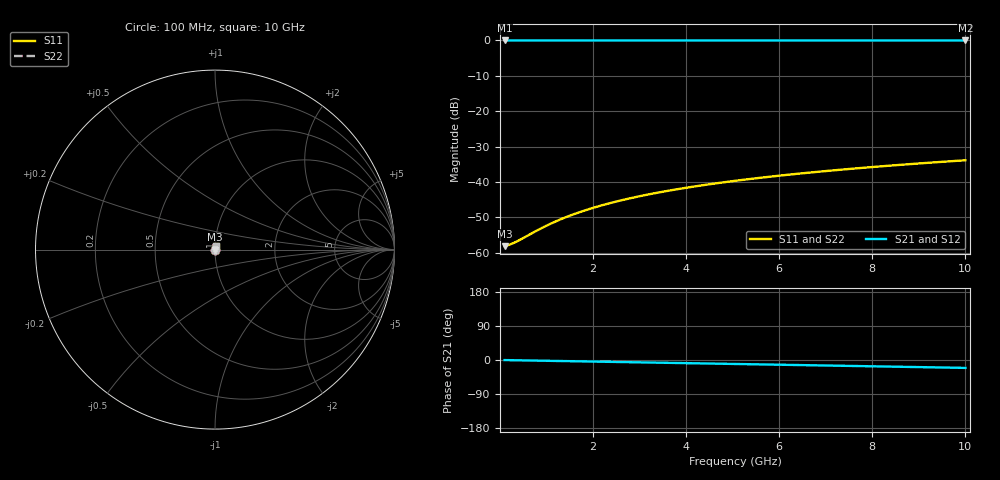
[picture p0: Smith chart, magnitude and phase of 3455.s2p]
# Hz S RI R 50.00
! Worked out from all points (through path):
!   100 points, 100 MHz to 10 GHz, reference 50 ohm
!   highest |S21| = -0.01 dB at 100 MHz (marker M1); lowest = 0.0 dB at 10 GHz (marker M2)
!   group delay of S21, straight-line fit = 5.79 ps
!   lowest |S11| = -58.1 dB at 100 MHz (marker M3), VSWR 1.00, Z = 50.1 + j0.0203 ohm
!   |S11| at or under -10 dB: start of sweep to end of sweep
!   |S22| runs from -58.1 to -33.9 dB; largest |S21 - S12| = 0
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1e8  0.00122 0.000203  0.9988 -0.0036  0.9988 -0.0036  0.00122 0.000203
2e8  0.00123 0.000406  0.9987 -0.0072  0.9987 -0.0072  0.00123 0.000406
3e8  0.00124 0.000608  0.9987 -0.0108  0.9987 -0.0108  0.00124 0.000608
4e8  0.00125 0.000811  0.9986 -0.0144  0.9986 -0.0144  0.00125 0.000811
9e8  0.00131 0.00182  0.9982 -0.0324  0.9982 -0.0324  0.00131 0.00182
1e9  0.00132 0.00202  0.9981 -0.036  0.9981 -0.036  0.00132 0.00202
1.2e9  0.00136 0.00243  0.9978 -0.0432  0.9978 -0.0432  0.00136 0.00243
1.5e9  0.00142 0.00303  0.9972 -0.054  0.9972 -0.054  0.00142 0.00303
1.8e9  0.00149 0.00363  0.9966 -0.0648  0.9966 -0.0648  0.00149 0.00363
2.1e9  0.00158 0.00423  0.9958 -0.0756  0.9958 -0.0756  0.00158 0.00423
2.5e9  0.00171 0.00502  0.9946 -0.09  0.9946 -0.09  0.00171 0.00502
2.9e9  0.00187 0.0058  0.9932 -0.1044  0.9932 -0.1044  0.00187 0.0058
3.4e9  0.0021 0.00678  0.9911 -0.1224  0.9911 -0.1224  0.0021 0.00678
3.8e9  0.00231 0.00755  0.9892 -0.1367  0.9892 -0.1367  0.00231 0.00755
4.2e9  0.00254 0.00832  0.9871 -0.151  0.9871 -0.151  0.00254 0.00832
4.6e9  0.00279 0.00908  0.9848 -0.1654  0.9848 -0.1654  0.00279 0.00908
5.1e9  0.00314 0.01  0.9816 -0.1832  0.9816 -0.1832  0.00314 0.01
5.9e9  0.00376 0.0115  0.9758 -0.2117  0.9758 -0.2117  0.00376 0.0115
6.7e9  0.00448 0.0129  0.9692 -0.24  0.9692 -0.24  0.00448 0.0129
7.5e9  0.00528 0.0143  0.9617 -0.2682  0.9617 -0.2682  0.00528 0.0143
8.4e9  0.00629 0.0159  0.9523 -0.2998  0.9523 -0.2998  0.00629 0.0159
1e10  0.00834 0.0185  0.9329 -0.3551  0.9329 -0.3551  0.00834 0.0185
